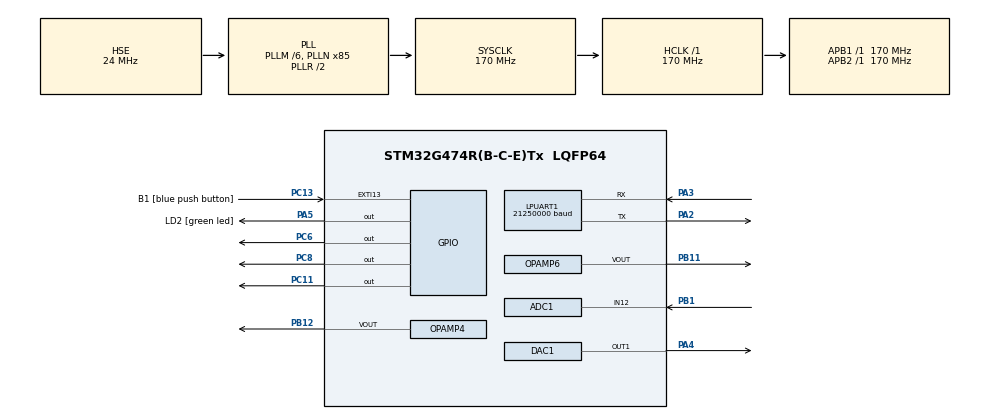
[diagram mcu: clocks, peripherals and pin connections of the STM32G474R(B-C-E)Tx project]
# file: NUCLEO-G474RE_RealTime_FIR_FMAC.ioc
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Mcu.Family=STM32G4
NVIC.ADC1_2_IRQn=true\:0\:0\:false\:false\:false\:true\:true
RCC.CortexFreq_Value=170000000
Dma.DAC3_CH1.0.Polarity=HAL_DMAMUX_REQ_GEN_RISING
Dma.ADC1.1.MemDataAlignment=DMA_MDATAALIGN_WORD
ADC1.Overrun=ADC_OVR_DATA_OVERWRITTEN
VP_FMAC_VS_FMAC.Mode=FMAC_Activate
Dma.DAC3_CH1.0.MemInc=DMA_MINC_ENABLE
PA14.GPIO_Label=T_SWCLK
Dma.DAC3_CH1.0.PeriphInc=DMA_PINC_DISABLE
Dma.ADC1.1.SyncEnable=DISABLE
PC13.GPIO_Label=B1 [blue push button]
PB11.Signal=OPAMP6_VOUT
RCC.SYSCLKSource=RCC_SYSCLKSOURCE_PLLCLK
ProjectManager.StackSize=0x400
Dma.DAC3_CH1.0.MemDataAlignment=DMA_MDATAALIGN_WORD
Dma.DAC3_CH1.0.SyncPolarity=HAL_DMAMUX_SYNC_NO_EVENT
Dma.DAC3_CH1.0.SyncEnable=DISABLE
Dma.ADC1.1.Instance=DMA1_Channel2
Dma.ADC1.1.SyncPolarity=HAL_DMAMUX_SYNC_NO_EVENT
HRTIM1.Periode_MASTER=54400
RCC.HCLKFreq_Value=170000000
RCC.APB2TimFreq_Value=170000000
DAC3.DAC_Trigger_OUT1-DAC_OUT1_Int=DAC_TRIGGER_T6_TRGO
Dma.ADC1.1.PeriphDataAlignment=DMA_PDATAALIGN_WORD
RCC.AHBFreq_Value=170000000
VP_HRTIM1_VS_hrtimMasterTimerNoOutput.Mode=MasterTimer
NVIC.EXTI15_10_IRQn=true\:0\:0\:false\:false\:true\:true\:true
ADC1.Channel-0\#ChannelRegularConversion=ADC_CHANNEL_12
RCC.HSE_VALUE=24000000
PB3.Mode=Trace_Asynchronous_SW
OPAMP6.PowerMode=OPAMP_POWERMODE_HIGHSPEED
RCC.ADC12Freq_Value=170000000
RCC.RTCClockSelection=RCC_RTCCLKSOURCE_LSE
VP_DAC3_VS_DACI1.Mode=DAC_OUT1_Int
PC14-OSC32_IN.Mode=LSE-External-Oscillator
PA14.Mode=Trace_Asynchronous_SW
HRTIM1.PrescalerRatio_MASTER=HRTIM_PRESCALERRATIO_MUL16
Dma.ADC1.1.Priority=DMA_PRIORITY_HIGH
VP_SYS_VS_DBSignals.Mode=DisableDeadBatterySignals
Dma.ADC1.1.Mode=DMA_CIRCULAR
OPAMP4.PowerMode=OPAMP_POWERMODE_HIGHSPEED
ADC1.SamplingTime-0\#ChannelRegularConversion=ADC_SAMPLETIME_24CYCLES_5
Mcu.Package=LQFP64
PB1.Signal=ADC1_IN12
PB12.Mode=Follower-DAC_OUT2-INP
Dma.DAC3_CH1.0.Mode=DMA_CIRCULAR
DAC1.DAC_HighFrequency_OUT1-DAC_OUT1=DAC_HIGH_FREQUENCY_INTERFACE_MODE_ABOVE_160MHZ
Dma.ADC1.1.Direction=DMA_PERIPH_TO_MEMORY
TIM6.PeriodNoDither=5-1
Dma.ADC1.1.MemInc=DMA_MINC_ENABLE
HRTIM1.ADCTrigger1_Source1=HRTIM_ADCTRIGGEREVENT13_MASTER_PERIOD
HRTIM1.NumberADCTriggerSource1=1
Dma.Request1=ADC1
RCC.APB1TimFreq_Value=170000000
PF1-OSC_OUT.Mode=HSE-External-Oscillator
Dma.Request0=DAC3_CH1
PF1-OSC_OUT.Signal=RCC_OSC_OUT
RCC.HSI48_VALUE=48000000
Dma.ADC1.1.SignalID=NONE
PA3.Signal=LPUART1_RX
PB3.GPIO_Label=T_SWO
RCC.PLLSourceVirtual=RCC_PLLSOURCE_HSE
PC15-OSC32_OUT.Mode=LSE-External-Oscillator
ADC1.Rank-0\#ChannelRegularConversion=1
Dma.ADC1.1.SyncSignalID=NONE
ADC1.OffsetNumber-0\#ChannelRegularConversion=ADC_OFFSET_NONE
PC13.Signal=GPXTI13
PC11.Signal=GPIO_Output
Dma.ADC1.1.RequestNumber=1
PC8.Signal=GPIO_Output
TIM6.Prescaler=17-1
PC6.Signal=GPIO_Output
VP_TIM6_VS_ClockSourceINT.Mode=Enable_Timer
RCC.EXTERNAL_CLOCK_VALUE=12288000
PC14-OSC32_IN.Signal=RCC_OSC32_IN
Dma.DAC3_CH1.0.Instance=DMA1_Channel1
PA13.Signal=SYS_JTMS-SWDIO
PA3.Mode=Asynchronous
Dma.DAC3_CH1.0.Direction=DMA_MEMORY_TO_PERIPH
DAC4.DAC_HighFrequency_OUT1-DAC_OUT1_Int=DAC_HIGH_FREQUENCY_INTERFACE_MODE_ABOVE_160MHZ
PB11.Mode=Follower-DAC_OUT2-INP
NVIC.DMA1_Channel2_IRQn=true\:0\:0\:false\:false\:true\:false\:true
ProjectManager.TargetToolchain=STM32CubeIDE
SH.COMP_DAC11_group.0=DAC1_OUT1,DAC_OUT1
VP_DAC4_VS_DACI1.Mode=DAC_OUT1_Int
RCC.USBFreq_Value=170000000
Dma.ADC1.1.Polarity=HAL_DMAMUX_REQ_GEN_RISING
PC15-OSC32_OUT.Signal=RCC_OSC32_OUT
PF0-OSC_IN.Mode=HSE-External-Oscillator
Dma.DAC3_CH1.0.EventEnable=DISABLE
Dma.ADC1.1.SyncRequestNumber=1
PA5.Signal=GPIO_Output
HRTIM1.ADCTrigger_Id1=HRTIM_ADCTRIGGER_1
Dma.DAC3_CH1.0.SyncRequestNumber=1
board=NUCLEO-G474RE
RCC.VCOOutputFreq_Value=340000000
RCC.ADC345Freq_Value=170000000
RCC.APB2Freq_Value=170000000
NVIC.FMAC_IRQn=true\:0\:0\:false\:false\:true\:true\:false
TIM6.TIM_MasterOutputTrigger=TIM_TRGO_UPDATE
Dma.DAC3_CH1.0.SignalID=NONE
Dma.ADC1.1.PeriphInc=DMA_PINC_DISABLE
ADC1.DMAContinuousRequests=ENABLE
PA13.Mode=Trace_Asynchronous_SW
Mcu.Name=STM32G474R(B-C-E)Tx
LPUART1.BaudRate=21250000
PA2.Signal=LPUART1_TX
PA13.GPIO_Label=T_SWDIO
Dma.DAC3_CH1.0.PeriphDataAlignment=DMA_PDATAALIGN_WORD
ADC1.ExternalTrigConv=ADC_EXTERNALTRIG_HRTIM_TRG1
Dma.DAC3_CH1.0.Priority=DMA_PRIORITY_LOW
PB3.Signal=SYS_JTDO-SWO
PA4.Signal=COMP_DAC11_group
RCC.SYSCLKFreq_VALUE=170000000
ADC1.master=1
DAC3.DAC_HighFrequency_OUT1-DAC_OUT1_Int=DAC_HIGH_FREQUENCY_INTERFACE_MODE_ABOVE_160MHZ
PA5.GPIO_Label=LD2 [green led]
Dma.DAC3_CH1.0.RequestNumber=1
PA14.Signal=SYS_JTCK-SWCLK
ProjectManager.HeapSize=0x200
PB1.Mode=IN12-Single-Ended
RCC.HSI_VALUE=16000000
NVIC.PriorityGroup=NVIC_PRIORITYGROUP_4
ADC1.NbrOfConversionFlag=1
RCC.PLLM=RCC_PLLM_DIV6
RCC.PLLN=85
Dma.DAC3_CH1.0.SyncSignalID=NONE
PA2.Mode=Asynchronous
NVIC.DMA1_Channel1_IRQn=true\:0\:0\:false\:false\:true\:false\:true
PF0-OSC_IN.Signal=RCC_OSC_IN
Dma.ADC1.1.EventEnable=DISABLE
RCC.APB1Freq_Value=170000000
PB12.Signal=OPAMP4_VOUT

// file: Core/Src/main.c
/* USER CODE BEGIN Header */
/**
  ******************************************************************************
  * @file           : main.c
  * @brief          : Main program body
  ******************************************************************************
  * @attention
  *
  * <h2><center>&copy; Copyright (c) 2021 STMicroelectronics.
  * All rights reserved.</center></h2>
  *
  * This software component is licensed by ST under BSD 3-Clause license,
  * the "License"; You may not use this file except in compliance with the
  * License. You may obtain a copy of the License at:
  *                        opensource.org/licenses/BSD-3-Clause
  *
  ******************************************************************************
  */
/* USER CODE END Header */
#include "main.h"

/* USER CODE BEGIN Includes */

#include "waveforms.h"
#include "fmac.h"
#include <stdio.h>

/* USER CODE END Includes */

/* USER CODE BEGIN PD */

/* FMAC WDATA register address (for DMA transfer) */
#define FMAC_WDATA (0x40021418)

/* USER CODE END PD */

ADC_HandleTypeDef hadc1;
DMA_HandleTypeDef hdma_adc1;

DAC_HandleTypeDef hdac1;
DAC_HandleTypeDef hdac3;
DAC_HandleTypeDef hdac4;
DMA_HandleTypeDef hdma_dac3_ch1;

FMAC_HandleTypeDef hfmac;

HRTIM_HandleTypeDef hhrtim1;

UART_HandleTypeDef hlpuart1;

OPAMP_HandleTypeDef hopamp4;
OPAMP_HandleTypeDef hopamp6;

TIM_HandleTypeDef htim6;

/* USER CODE BEGIN PV */

#define adc_data_array_size 600
uint32_t adc_data, adc_data_cntr, adc_data_array[adc_data_array_size];
uint32_t *Fmac_Wdata;
int16_t Fmac_output;

FMAC_FilterConfigTypeDef sFmacConfig;

uint16_t ExpectedCalculatedOutputSize = (uint16_t) 1;

/* Array of filter coefficients B (feed-forward taps) in Q1.15 format */

// Old Low Pass Filter
static int16_t aFilterCoeffB[] =
{
    2212,  8848, 13272,  8848,  2212
};

// Very Low Pass Filter
//static int16_t aFilterCoeffB[] =
//{
//    70,  0, 127,  0,  70
//};

// Low Pass Filter
//static int16_t aFilterCoeffB[] =
//{
//		5987,  6832, 7129,  6832,  5987
//};

// High Pass Filter
//static int16_t aFilterCoeffB[] =
//{
//		-2570,  -8318, 21777,  -8318,  -2570
//};

/* USER CODE END PV */

void SystemClock_Config(void);
static void MX_GPIO_Init(void);
static void MX_DMA_Init(void);
static void MX_DAC3_Init(void);
static void MX_TIM6_Init(void);
static void MX_OPAMP6_Init(void);
static void MX_ADC1_Init(void);
static void MX_HRTIM1_Init(void);
static void MX_DAC4_Init(void);
static void MX_OPAMP4_Init(void);
static void MX_FMAC_Init(void);
static void MX_DAC1_Init(void);
static void MX_LPUART1_UART_Init(void);
/* USER CODE BEGIN PFP */

void VT_FMAC_init(void);
#define PUTCHAR_PROTOTYPE int __io_putchar(int ch)

/* USER CODE END PFP */

int main(void)
{

  /* MCU Configuration--------------------------------------------------------*/

  /* Reset of all peripherals, Initializes the Flash interface and the Systick. */
  HAL_Init();

  /* Configure the system clock */
  SystemClock_Config();

  /* Initialize all configured peripherals */
  MX_GPIO_Init();
  MX_DMA_Init();
  MX_DAC3_Init();
  MX_TIM6_Init();
  MX_OPAMP6_Init();
  MX_ADC1_Init();
  MX_HRTIM1_Init();
  MX_DAC4_Init();
  MX_OPAMP4_Init();
  MX_FMAC_Init();
  MX_DAC1_Init();
  MX_LPUART1_UART_Init();
  /* USER CODE BEGIN 2 */

	for (uint16_t cntr = 0; cntr < MySine2000_SIZE; cntr++)
	{
		MySine2000[cntr] += 682;
		MySine2000[cntr] += MySine200[cntr % MySine200_SIZE];
	}

	/*##- Enable DAC Channel and associated DMA ##############################*/
	if(HAL_OK != HAL_DAC_Start_DMA(&hdac3, DAC_CHANNEL_1,
				   (uint32_t*)MySine2000, MySine2000_SIZE, DAC_ALIGN_12B_R))
	{
		/* Start DMA Error */
		Error_Handler();
	}

	/*##- Start OPAMP    #####################################################*/
	/* Enable OPAMP */
	if(HAL_OK != HAL_OPAMP_Start(&hopamp6))
	{
		Error_Handler();
	}

	/*##- Enable DAC Channel ##############################*/
	if(HAL_OK != HAL_DAC_Start(&hdac4, DAC_CHANNEL_1))
	{
		/* Start Error */
		Error_Handler();
	}

	/*##- Start OPAMP    #####################################################*/
	/* Enable OPAMP */
	if(HAL_OK != HAL_OPAMP_Start(&hopamp4))
	{
		Error_Handler();
	}

	/* Perform an ADC automatic self-calibration and enable ADC */
	HAL_ADCEx_Calibration_Start(&hadc1, ADC_SINGLE_ENDED);

//	/*##- Enable ADC Channel and associated DMA ##############################*/
//	if(HAL_OK != HAL_ADC_Start_DMA(&hadc1, &adc_data, 1))
//	{
//		/* Start DMA Error */
//		Error_Handler();
//	}

	VT_FMAC_init();

	/* Point to ADC source to FMAC Wdata */
	Fmac_Wdata = (uint32_t *) FMAC_WDATA;

	/*##- Enable ADC Channel and associated DMA ##############################*/
	if(HAL_OK != HAL_ADC_Start_DMA(&hadc1, Fmac_Wdata, 1))
	{
		/* Start DMA Error */
		Error_Handler();
	}

	/*##- Enable DAC Channel ##############################*/
	if(HAL_OK != HAL_DAC_Start(&hdac1, DAC_CHANNEL_1))
	{
		/* Start Error */
		Error_Handler();
	}

	/*##- Enable TIM peripheral counter ######################################*/
	if(HAL_OK != HAL_TIM_Base_Start(&htim6))
	{
		Error_Handler();
	}

	if(HAL_OK != HAL_HRTIM_WaveformCounterStart(&hhrtim1, HRTIM_TIMERID_MASTER))
	{
		Error_Handler();
	}

  /* USER CODE END 2 */

  /* Infinite loop */
  while (1)
  {

  }
}

void SystemClock_Config(void)
{
  RCC_OscInitTypeDef RCC_OscInitStruct = {0};
  RCC_ClkInitTypeDef RCC_ClkInitStruct = {0};
  RCC_PeriphCLKInitTypeDef PeriphClkInit = {0};

  /** Configure the main internal regulator output voltage
  */
  HAL_PWREx_ControlVoltageScaling(PWR_REGULATOR_VOLTAGE_SCALE1_BOOST);
  /** Initializes the RCC Oscillators according to the specified parameters
  * in the RCC_OscInitTypeDef structure.
  */
  RCC_OscInitStruct.OscillatorType = RCC_OSCILLATORTYPE_HSE;
  RCC_OscInitStruct.HSEState = RCC_HSE_ON;
  RCC_OscInitStruct.PLL.PLLState = RCC_PLL_ON;
  RCC_OscInitStruct.PLL.PLLSource = RCC_PLLSOURCE_HSE;
  RCC_OscInitStruct.PLL.PLLM = RCC_PLLM_DIV6;
  RCC_OscInitStruct.PLL.PLLN = 85;
  RCC_OscInitStruct.PLL.PLLP = RCC_PLLP_DIV2;
  RCC_OscInitStruct.PLL.PLLQ = RCC_PLLQ_DIV2;
  RCC_OscInitStruct.PLL.PLLR = RCC_PLLR_DIV2;
  if (HAL_RCC_OscConfig(&RCC_OscInitStruct) != HAL_OK)
  {
    Error_Handler();
  }
  /** Initializes the CPU, AHB and APB buses clocks
  */
  RCC_ClkInitStruct.ClockType = RCC_CLOCKTYPE_HCLK|RCC_CLOCKTYPE_SYSCLK
                              |RCC_CLOCKTYPE_PCLK1|RCC_CLOCKTYPE_PCLK2;
  RCC_ClkInitStruct.SYSCLKSource = RCC_SYSCLKSOURCE_PLLCLK;
  RCC_ClkInitStruct.AHBCLKDivider = RCC_SYSCLK_DIV1;
  RCC_ClkInitStruct.APB1CLKDivider = RCC_HCLK_DIV1;
  RCC_ClkInitStruct.APB2CLKDivider = RCC_HCLK_DIV1;

  if (HAL_RCC_ClockConfig(&RCC_ClkInitStruct, FLASH_LATENCY_4) != HAL_OK)
  {
    Error_Handler();
  }
  /** Initializes the peripherals clocks
  */
  PeriphClkInit.PeriphClockSelection = RCC_PERIPHCLK_LPUART1|RCC_PERIPHCLK_ADC12;
  PeriphClkInit.Lpuart1ClockSelection = RCC_LPUART1CLKSOURCE_PCLK1;
  PeriphClkInit.Adc12ClockSelection = RCC_ADC12CLKSOURCE_SYSCLK;
  if (HAL_RCCEx_PeriphCLKConfig(&PeriphClkInit) != HAL_OK)
  {
    Error_Handler();
  }
}

static void MX_ADC1_Init(void)
{

  ADC_MultiModeTypeDef multimode = {0};
  ADC_ChannelConfTypeDef sConfig = {0};

  /** Common config
  */
  hadc1.Instance = ADC1;
  hadc1.Init.ClockPrescaler = ADC_CLOCK_SYNC_PCLK_DIV4;
  hadc1.Init.Resolution = ADC_RESOLUTION_12B;
  hadc1.Init.DataAlign = ADC_DATAALIGN_RIGHT;
  hadc1.Init.GainCompensation = 0;
  hadc1.Init.ScanConvMode = ADC_SCAN_DISABLE;
  hadc1.Init.EOCSelection = ADC_EOC_SINGLE_CONV;
  hadc1.Init.LowPowerAutoWait = DISABLE;
  hadc1.Init.ContinuousConvMode = DISABLE;
  hadc1.Init.NbrOfConversion = 1;
  hadc1.Init.DiscontinuousConvMode = DISABLE;
  hadc1.Init.ExternalTrigConv = ADC_EXTERNALTRIG_HRTIM_TRG1;
  hadc1.Init.ExternalTrigConvEdge = ADC_EXTERNALTRIGCONVEDGE_RISING;
  hadc1.Init.DMAContinuousRequests = ENABLE;
  hadc1.Init.Overrun = ADC_OVR_DATA_OVERWRITTEN;
  hadc1.Init.OversamplingMode = DISABLE;
  if (HAL_ADC_Init(&hadc1) != HAL_OK)
  {
    Error_Handler();
  }
  /** Configure the ADC multi-mode
  */
  multimode.Mode = ADC_MODE_INDEPENDENT;
  if (HAL_ADCEx_MultiModeConfigChannel(&hadc1, &multimode) != HAL_OK)
  {
    Error_Handler();
  }
  /** Configure Regular Channel
  */
  sConfig.Channel = ADC_CHANNEL_12;
  sConfig.Rank = ADC_REGULAR_RANK_1;
  sConfig.SamplingTime = ADC_SAMPLETIME_24CYCLES_5;
  sConfig.SingleDiff = ADC_SINGLE_ENDED;
  sConfig.OffsetNumber = ADC_OFFSET_NONE;
  sConfig.Offset = 0;
  if (HAL_ADC_ConfigChannel(&hadc1, &sConfig) != HAL_OK)
  {
    Error_Handler();
  }

}

static void MX_DAC1_Init(void)
{

  DAC_ChannelConfTypeDef sConfig = {0};

  /** DAC Initialization
  */
  hdac1.Instance = DAC1;
  if (HAL_DAC_Init(&hdac1) != HAL_OK)
  {
    Error_Handler();
  }
  /** DAC channel OUT1 config
  */
  sConfig.DAC_HighFrequency = DAC_HIGH_FREQUENCY_INTERFACE_MODE_ABOVE_160MHZ;
  sConfig.DAC_DMADoubleDataMode = DISABLE;
  sConfig.DAC_SignedFormat = DISABLE;
  sConfig.DAC_SampleAndHold = DAC_SAMPLEANDHOLD_DISABLE;
  sConfig.DAC_Trigger = DAC_TRIGGER_NONE;
  sConfig.DAC_Trigger2 = DAC_TRIGGER_NONE;
  sConfig.DAC_OutputBuffer = DAC_OUTPUTBUFFER_ENABLE;
  sConfig.DAC_ConnectOnChipPeripheral = DAC_CHIPCONNECT_EXTERNAL;
  sConfig.DAC_UserTrimming = DAC_TRIMMING_FACTORY;
  if (HAL_DAC_ConfigChannel(&hdac1, &sConfig, DAC_CHANNEL_1) != HAL_OK)
  {
    Error_Handler();
  }

}

static void MX_DAC3_Init(void)
{

  DAC_ChannelConfTypeDef sConfig = {0};

  /** DAC Initialization
  */
  hdac3.Instance = DAC3;
  if (HAL_DAC_Init(&hdac3) != HAL_OK)
  {
    Error_Handler();
  }
  /** DAC channel OUT1 config
  */
  sConfig.DAC_HighFrequency = DAC_HIGH_FREQUENCY_INTERFACE_MODE_ABOVE_160MHZ;
  sConfig.DAC_DMADoubleDataMode = DISABLE;
  sConfig.DAC_SignedFormat = DISABLE;
  sConfig.DAC_SampleAndHold = DAC_SAMPLEANDHOLD_DISABLE;
  sConfig.DAC_Trigger = DAC_TRIGGER_T6_TRGO;
  sConfig.DAC_Trigger2 = DAC_TRIGGER_NONE;
  sConfig.DAC_OutputBuffer = DAC_OUTPUTBUFFER_DISABLE;
  sConfig.DAC_ConnectOnChipPeripheral = DAC_CHIPCONNECT_INTERNAL;
  sConfig.DAC_UserTrimming = DAC_TRIMMING_FACTORY;
  if (HAL_DAC_ConfigChannel(&hdac3, &sConfig, DAC_CHANNEL_1) != HAL_OK)
  {
    Error_Handler();
  }

}

static void MX_DAC4_Init(void)
{

  DAC_ChannelConfTypeDef sConfig = {0};

  /** DAC Initialization
  */
  hdac4.Instance = DAC4;
  if (HAL_DAC_Init(&hdac4) != HAL_OK)
  {
    Error_Handler();
  }
  /** DAC channel OUT1 config
  */
  sConfig.DAC_HighFrequency = DAC_HIGH_FREQUENCY_INTERFACE_MODE_ABOVE_160MHZ;
  sConfig.DAC_DMADoubleDataMode = DISABLE;
  sConfig.DAC_SignedFormat = DISABLE;
  sConfig.DAC_SampleAndHold = DAC_SAMPLEANDHOLD_DISABLE;
  sConfig.DAC_Trigger = DAC_TRIGGER_NONE;
  sConfig.DAC_Trigger2 = DAC_TRIGGER_NONE;
  sConfig.DAC_OutputBuffer = DAC_OUTPUTBUFFER_DISABLE;
  sConfig.DAC_ConnectOnChipPeripheral = DAC_CHIPCONNECT_INTERNAL;
  sConfig.DAC_UserTrimming = DAC_TRIMMING_FACTORY;
  if (HAL_DAC_ConfigChannel(&hdac4, &sConfig, DAC_CHANNEL_1) != HAL_OK)
  {
    Error_Handler();
  }

}

static void MX_FMAC_Init(void)
{

  hfmac.Instance = FMAC;
  if (HAL_FMAC_Init(&hfmac) != HAL_OK)
  {
    Error_Handler();
  }

}

static void MX_HRTIM1_Init(void)
{

  HRTIM_ADCTriggerCfgTypeDef pADCTriggerCfg = {0};
  HRTIM_TimeBaseCfgTypeDef pTimeBaseCfg = {0};
  HRTIM_TimerCfgTypeDef pTimerCfg = {0};

  hhrtim1.Instance = HRTIM1;
  hhrtim1.Init.HRTIMInterruptResquests = HRTIM_IT_NONE;
  hhrtim1.Init.SyncOptions = HRTIM_SYNCOPTION_NONE;
  if (HAL_HRTIM_Init(&hhrtim1) != HAL_OK)
  {
    Error_Handler();
  }
  if (HAL_HRTIM_DLLCalibrationStart(&hhrtim1, HRTIM_CALIBRATIONRATE_3) != HAL_OK)
  {
    Error_Handler();
  }
  if (HAL_HRTIM_PollForDLLCalibration(&hhrtim1, 10) != HAL_OK)
  {
    Error_Handler();
  }
  pADCTriggerCfg.UpdateSource = HRTIM_ADCTRIGGERUPDATE_MASTER;
  pADCTriggerCfg.Trigger = HRTIM_ADCTRIGGEREVENT13_MASTER_PERIOD;
  if (HAL_HRTIM_ADCTriggerConfig(&hhrtim1, HRTIM_ADCTRIGGER_1, &pADCTriggerCfg) != HAL_OK)
  {
    Error_Handler();
  }
  if (HAL_HRTIM_ADCPostScalerConfig(&hhrtim1, HRTIM_ADCTRIGGER_1, 0x0) != HAL_OK)
  {
    Error_Handler();
  }
  pTimeBaseCfg.Period = 54400;
  pTimeBaseCfg.RepetitionCounter = 0x00;
  pTimeBaseCfg.PrescalerRatio = HRTIM_PRESCALERRATIO_MUL16;
  pTimeBaseCfg.Mode = HRTIM_MODE_CONTINUOUS;
  if (HAL_HRTIM_TimeBaseConfig(&hhrtim1, HRTIM_TIMERINDEX_MASTER, &pTimeBaseCfg) != HAL_OK)
  {
    Error_Handler();
  }
  pTimerCfg.InterruptRequests = HRTIM_MASTER_IT_NONE;
  pTimerCfg.DMARequests = HRTIM_MASTER_DMA_NONE;
  pTimerCfg.DMASrcAddress = 0x0000;
  pTimerCfg.DMADstAddress = 0x0000;
  pTimerCfg.DMASize = 0x1;
  pTimerCfg.HalfModeEnable = HRTIM_HALFMODE_DISABLED;
  pTimerCfg.InterleavedMode = HRTIM_INTERLEAVED_MODE_DISABLED;
  pTimerCfg.StartOnSync = HRTIM_SYNCSTART_DISABLED;
  pTimerCfg.ResetOnSync = HRTIM_SYNCRESET_DISABLED;
  pTimerCfg.DACSynchro = HRTIM_DACSYNC_NONE;
  pTimerCfg.PreloadEnable = HRTIM_PRELOAD_DISABLED;
  pTimerCfg.UpdateGating = HRTIM_UPDATEGATING_INDEPENDENT;
  pTimerCfg.BurstMode = HRTIM_TIMERBURSTMODE_MAINTAINCLOCK;
  pTimerCfg.RepetitionUpdate = HRTIM_UPDATEONREPETITION_DISABLED;
  pTimerCfg.ReSyncUpdate = HRTIM_TIMERESYNC_UPDATE_UNCONDITIONAL;

  if (HAL_HRTIM_WaveformTimerConfig(&hhrtim1, HRTIM_TIMERINDEX_MASTER, &pTimerCfg) != HAL_OK)
  {
    Error_Handler();
  }

}

static void MX_LPUART1_UART_Init(void)
{

  hlpuart1.Instance = LPUART1;
  hlpuart1.Init.BaudRate = 21250000;
  hlpuart1.Init.WordLength = UART_WORDLENGTH_8B;
  hlpuart1.Init.StopBits = UART_STOPBITS_1;
  hlpuart1.Init.Parity = UART_PARITY_NONE;
  hlpuart1.Init.Mode = UART_MODE_TX_RX;
  hlpuart1.Init.HwFlowCtl = UART_HWCONTROL_NONE;
  hlpuart1.Init.OneBitSampling = UART_ONE_BIT_SAMPLE_DISABLE;
  hlpuart1.Init.ClockPrescaler = UART_PRESCALER_DIV1;
  hlpuart1.AdvancedInit.AdvFeatureInit = UART_ADVFEATURE_NO_INIT;
  if (HAL_UART_Init(&hlpuart1) != HAL_OK)
  {
    Error_Handler();
  }
  if (HAL_UARTEx_SetTxFifoThreshold(&hlpuart1, UART_TXFIFO_THRESHOLD_1_8) != HAL_OK)
  {
    Error_Handler();
  }
  if (HAL_UARTEx_SetRxFifoThreshold(&hlpuart1, UART_RXFIFO_THRESHOLD_1_8) != HAL_OK)
  {
    Error_Handler();
  }
  if (HAL_UARTEx_DisableFifoMode(&hlpuart1) != HAL_OK)
  {
    Error_Handler();
  }

}

static void MX_OPAMP4_Init(void)
{

  hopamp4.Instance = OPAMP4;
  hopamp4.Init.PowerMode = OPAMP_POWERMODE_HIGHSPEED;
  hopamp4.Init.Mode = OPAMP_FOLLOWER_MODE;
  hopamp4.Init.NonInvertingInput = OPAMP_NONINVERTINGINPUT_DAC;
  hopamp4.Init.InternalOutput = DISABLE;
  hopamp4.Init.TimerControlledMuxmode = OPAMP_TIMERCONTROLLEDMUXMODE_DISABLE;
  hopamp4.Init.UserTrimming = OPAMP_TRIMMING_FACTORY;
  if (HAL_OPAMP_Init(&hopamp4) != HAL_OK)
  {
    Error_Handler();
  }

}

static void MX_OPAMP6_Init(void)
{

  hopamp6.Instance = OPAMP6;
  hopamp6.Init.PowerMode = OPAMP_POWERMODE_HIGHSPEED;
  hopamp6.Init.Mode = OPAMP_FOLLOWER_MODE;
  hopamp6.Init.NonInvertingInput = OPAMP_NONINVERTINGINPUT_DAC;
  hopamp6.Init.InternalOutput = DISABLE;
  hopamp6.Init.TimerControlledMuxmode = OPAMP_TIMERCONTROLLEDMUXMODE_DISABLE;
  hopamp6.Init.UserTrimming = OPAMP_TRIMMING_FACTORY;
  if (HAL_OPAMP_Init(&hopamp6) != HAL_OK)
  {
    Error_Handler();
  }

}

static void MX_TIM6_Init(void)
{

  TIM_MasterConfigTypeDef sMasterConfig = {0};

  htim6.Instance = TIM6;
  htim6.Init.Prescaler = 17-1;
  htim6.Init.CounterMode = TIM_COUNTERMODE_UP;
  htim6.Init.Period = 4;
  htim6.Init.AutoReloadPreload = TIM_AUTORELOAD_PRELOAD_DISABLE;
  if (HAL_TIM_Base_Init(&htim6) != HAL_OK)
  {
    Error_Handler();
  }
  sMasterConfig.MasterOutputTrigger = TIM_TRGO_UPDATE;
  sMasterConfig.MasterSlaveMode = TIM_MASTERSLAVEMODE_DISABLE;
  if (HAL_TIMEx_MasterConfigSynchronization(&htim6, &sMasterConfig) != HAL_OK)
  {
    Error_Handler();
  }

}

static void MX_DMA_Init(void)
{

  /* DMA controller clock enable */
  __HAL_RCC_DMAMUX1_CLK_ENABLE();
  __HAL_RCC_DMA1_CLK_ENABLE();

  /* DMA interrupt init */
  /* DMA1_Channel1_IRQn interrupt configuration */
  HAL_NVIC_SetPriority(DMA1_Channel1_IRQn, 0, 0);
  HAL_NVIC_EnableIRQ(DMA1_Channel1_IRQn);
  /* DMA1_Channel2_IRQn interrupt configuration */
  HAL_NVIC_SetPriority(DMA1_Channel2_IRQn, 0, 0);
  HAL_NVIC_EnableIRQ(DMA1_Channel2_IRQn);

}

static void MX_GPIO_Init(void)
{
  GPIO_InitTypeDef GPIO_InitStruct = {0};

  /* GPIO Ports Clock Enable */
  __HAL_RCC_GPIOC_CLK_ENABLE();
  __HAL_RCC_GPIOF_CLK_ENABLE();
  __HAL_RCC_GPIOA_CLK_ENABLE();
  __HAL_RCC_GPIOB_CLK_ENABLE();

  /*Configure GPIO pin Output Level */
  HAL_GPIO_WritePin(LD2_GPIO_Port, LD2_Pin, GPIO_PIN_RESET);

  /*Configure GPIO pin Output Level */
  HAL_GPIO_WritePin(GPIOC, GPIO_PIN_6|GPIO_PIN_8|GPIO_PIN_11, GPIO_PIN_RESET);

  /*Configure GPIO pin : B1_Pin */
  GPIO_InitStruct.Pin = B1_Pin;
  GPIO_InitStruct.Mode = GPIO_MODE_IT_RISING;
  GPIO_InitStruct.Pull = GPIO_NOPULL;
  HAL_GPIO_Init(B1_GPIO_Port, &GPIO_InitStruct);

  /*Configure GPIO pin : LD2_Pin */
  GPIO_InitStruct.Pin = LD2_Pin;
  GPIO_InitStruct.Mode = GPIO_MODE_OUTPUT_PP;
  GPIO_InitStruct.Pull = GPIO_NOPULL;
  GPIO_InitStruct.Speed = GPIO_SPEED_FREQ_LOW;
  HAL_GPIO_Init(LD2_GPIO_Port, &GPIO_InitStruct);

  /*Configure GPIO pins : PC6 PC8 PC11 */
  GPIO_InitStruct.Pin = GPIO_PIN_6|GPIO_PIN_8|GPIO_PIN_11;
  GPIO_InitStruct.Mode = GPIO_MODE_OUTPUT_PP;
  GPIO_InitStruct.Pull = GPIO_NOPULL;
  GPIO_InitStruct.Speed = GPIO_SPEED_FREQ_LOW;
  HAL_GPIO_Init(GPIOC, &GPIO_InitStruct);

  /* EXTI interrupt init*/
  HAL_NVIC_SetPriority(EXTI15_10_IRQn, 0, 0);
  HAL_NVIC_EnableIRQ(EXTI15_10_IRQn);

}

/* USER CODE BEGIN 4 */

HAL_ADC_ConvCpltCallback(ADC_HandleTypeDef *hadc)
{
  /* Prevent unused argument(s) compilation warning */
  UNUSED(hadc);

  /* NOTE : This function should not be modified. When the callback is needed,
			function HAL_ADC_ConvCpltCallback must be implemented in the user file.
   */

//	HAL_GPIO_TogglePin(GPIOC, GPIO_PIN_11);
	adc_data = HAL_ADC_GetValue(hadc);
	HAL_DAC_SetValue(&hdac4, DAC_CHANNEL_1, DAC_ALIGN_12B_R, adc_data);
//	if (adc_data_cntr < adc_data_array_size)
//	{
//		adc_data_array[adc_data_cntr++] = adc_data;
//		if (adc_data_cntr == adc_data_array_size)
//		{
//			if(HAL_OK != HAL_HRTIM_WaveformCounterStop(&hhrtim1, HRTIM_TIMERID_MASTER))
//			{
//				Error_Handler();
//			}
//
//			printf("ADC DATA \n");
//			for (uint16_t Index = 0; Index < adc_data_array_size; Index++)
//			{
//				printf("%d %d\n",Index, adc_data_array[Index]);
//			}
//		}
//	}
}

void HAL_FMAC_OutputDataReadyCallback(FMAC_HandleTypeDef *hfmac)
{
	HAL_GPIO_TogglePin(GPIOC, GPIO_PIN_8);
}

void VT_FMAC_init(void)
{
	  /*## Configure the FMAC peripheral ###########################################*/
	  sFmacConfig.InputBaseAddress  = INPUT_BUFFER_BASE; 	// COEFF_VECTOR_B_SIZE = COEFFICIENT_BUFFER_SIZE = 5
	  sFmacConfig.InputBufferSize   = INPUT_BUFFER_SIZE; 	// COEFF_VECTOR_B_SIZE (5) + MEMORY_PARAMETER_D1 (1)
	  sFmacConfig.InputThreshold    = INPUT_THRESHOLD;  	// FMAC_THRESHOLD_1 = 0x00000000U
	  sFmacConfig.CoeffBaseAddress  = COEFFICIENT_BUFFER_BASE; // = 0
	  sFmacConfig.CoeffBufferSize   = COEFFICIENT_BUFFER_SIZE; // = 5
	  sFmacConfig.OutputBaseAddress = OUTPUT_BUFFER_BASE;	// COEFFICIENT_BUFFER_SIZE + INPUT_BUFFER_SIZE
	  sFmacConfig.OutputBufferSize  = OUTPUT_BUFFER_SIZE;	// MEMORY_PARAMETER_D2 = 2
	  sFmacConfig.OutputThreshold   = OUTPUT_THRESHOLD; 	//
	  sFmacConfig.pCoeffA           = NULL;					// no A coeffs
	  sFmacConfig.CoeffASize        = 0;					// no A coeffs
	  sFmacConfig.pCoeffB           = aFilterCoeffB;		//
	  sFmacConfig.CoeffBSize        = COEFF_VECTOR_B_SIZE;	// 5
	  sFmacConfig.Filter            = FMAC_FUNC_CONVO_FIR;  //
	  sFmacConfig.InputAccess       = FMAC_BUFFER_ACCESS_NONE; /*!< Buffer handled by an external IP (ADC for instance) */
	  sFmacConfig.OutputAccess      = FMAC_BUFFER_ACCESS_IT;// /*!< Buffer accessed through interruptions */
	  sFmacConfig.Clip              = FMAC_CLIP_ENABLED;	//
	  sFmacConfig.P                 = COEFF_VECTOR_B_SIZE;	// 5
	  sFmacConfig.Q                 = FILTER_PARAM_Q_NOT_USED; // 0
	  sFmacConfig.R                 = GAIN;					//

	  if (HAL_FMAC_FilterConfig(&hfmac, &sFmacConfig) != HAL_OK)
	  {
	    /* Configuration Error */
	    Error_Handler();
	  }

	  /*## Preload the input and output buffers ##################################*/
	  if (HAL_FMAC_FilterPreload(&hfmac, NULL, INPUT_BUFFER_SIZE, NULL, 0) != HAL_OK)
	  {
	    /* Configuration Error */
	    Error_Handler();
	  }

	  /*## Start calculation of FIR filter in polling/IT mode ####################*/
	  if (HAL_FMAC_FilterStart(&hfmac,&Fmac_output,&ExpectedCalculatedOutputSize) != HAL_OK)
	  {
	    /* Processing Error */
	    Error_Handler();
	  }

}

PUTCHAR_PROTOTYPE
{
  /* Place your implementation of fputc here */
  /* e.g. write a character to the LPUART1 and Loop until the end of transmission */
  HAL_UART_Transmit(&hlpuart1, (uint8_t *)&ch, 1, 0xFFFF); // hlpuart1 >> huart1

  return ch;
}

/* USER CODE END 4 */

void Error_Handler(void)
{
  /* USER CODE BEGIN Error_Handler_Debug */
  /* User can add his own implementation to report the HAL error return state */
  __disable_irq();
  while (1)
  {
	  HAL_GPIO_TogglePin(GPIOA, GPIO_PIN_5);
	  HAL_Delay(200);
  }
  /* USER CODE END Error_Handler_Debug */
}

/************************ (C) COPYRIGHT STMicroelectronics *****END OF FILE****/
